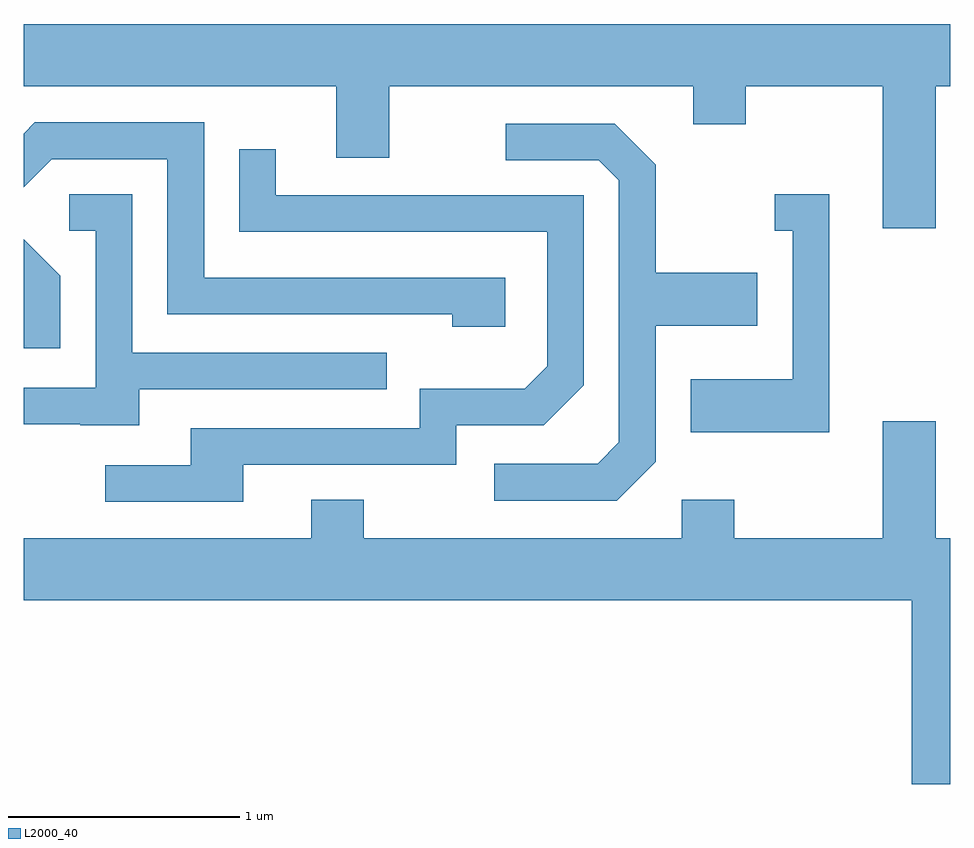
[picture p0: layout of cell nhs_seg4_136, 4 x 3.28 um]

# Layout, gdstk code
import gdstk
lib = gdstk.Library(unit=1e-6, precision=1e-09)
def P(c, l, *ps):  # polygons
    for p in ps: c.add(gdstk.Polygon(p, *l))
L2000_40 = (2000, 40)

nhs_seg4_136 = lib.new_cell('nhs_seg4_136')
P(nhs_seg4_136, L2000_40, [(193.549,1256.996),(193.611,1256.996),(193.611,1257.264),(189.611,1257.264),(189.611,1256.996),(190.961,1256.996),(190.961,1256.686),(191.189,1256.686),(191.189,1256.996),(192.501,1256.996),(192.501,1256.831),(192.729,1256.831),(192.729,1256.996),(193.321,1256.996),(193.321,1256.381),(193.549,1256.381)],
  [(191.689,1256.169),(190.389,1256.169),(190.389,1256.839),(189.659,1256.839),(189.611,1256.791),(189.611,1256.56),(189.732,1256.681),(190.231,1256.681),(190.231,1256.011),(191.461,1256.011),(191.461,1255.956),(191.689,1255.956)],
  [(192.339,1255.374),(192.339,1255.961),(192.779,1255.961),(192.779,1256.189),(192.339,1256.189),(192.339,1256.657),(192.162,1256.834),(191.693,1256.834),(191.693,1256.676),(192.094,1256.676),(192.181,1256.589),(192.181,1255.457),(192.089,1255.364),(191.643,1255.364),(191.643,1255.206),(192.172,1255.206)],
  [(190.559,1255.361),(191.479,1255.361),(191.479,1255.531),(191.857,1255.531),(192.029,1255.704),(192.029,1256.524),(190.699,1256.524),(190.699,1256.723),(190.541,1256.723),(190.541,1256.366),(191.871,1256.366),(191.871,1255.787),(191.774,1255.689),(191.321,1255.689),(191.321,1255.519),(190.331,1255.519),(190.331,1255.359),(189.963,1255.359),(189.963,1255.201),(190.559,1255.201)],
  [(190.109,1255.686),(191.178,1255.686),(191.178,1255.844),(190.079,1255.844),(190.079,1256.529),(189.808,1256.529),(189.808,1256.371),(189.921,1256.371),(189.921,1255.694),(189.611,1255.694),(189.611,1255.536),(189.855,1255.536),(189.855,1255.531),(190.109,1255.531)],
  [(193.089,1256.529),(192.853,1256.529),(192.853,1256.371),(192.931,1256.371),(192.931,1255.729),(192.491,1255.729),(192.491,1255.501),(193.089,1255.501)],
  [(189.769,1256.177),(189.611,1256.335),(189.611,1255.863),(189.769,1255.863)],
  [(193.611,1255.044),(193.549,1255.044),(193.549,1255.549),(193.321,1255.549),(193.321,1255.044),(192.679,1255.044),(192.679,1255.209),(192.451,1255.209),(192.451,1255.044),(191.079,1255.044),(191.079,1255.209),(190.851,1255.209),(190.851,1255.044),(189.611,1255.044),(189.611,1254.776),(193.446,1254.776),(193.446,1253.982),(193.611,1253.982)])

lib.write_gds('nhs_seg4_136.gds')
